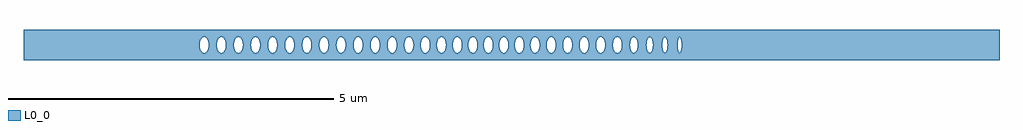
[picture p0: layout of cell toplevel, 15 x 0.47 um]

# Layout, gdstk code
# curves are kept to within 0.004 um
import gdstk
lib = gdstk.Library(unit=1e-6, precision=1e-09)
def P(c, l, *ps):  # polygons
    for p in ps: c.add(gdstk.Polygon(p, *l))
L0_0 = (0, 0)

toplevel = lib.new_cell('toplevel')
P(toplevel, L0_0, [(-4.266,0.023),(-4.259,0.06),(-4.245,0.09),(-4.245,0.235),(-7.5,0.235),(-7.5,-0.016),(-4.793,-0.016),(-4.79,0.038),(-4.78,0.073),(-4.757,0.109),(-4.727,0.124),(-4.701,0.118),(-4.671,0.085),(-4.654,0.031),(-4.653,-0.016),(-4.53,-0.016),(-4.527,0.038),(-4.517,0.073),(-4.494,0.109),(-4.464,0.124),(-4.438,0.118),(-4.411,0.09),(-4.394,0.046),(-4.389,0.008),(-4.391,-0.031),(-4.405,-0.079),(-4.426,-0.109),(-4.455,-0.124),(-4.481,-0.118),(-4.505,-0.096),(-4.517,-0.073),(-4.53,-0.016),(-4.653,-0.016),(-4.657,-0.046),(-4.674,-0.09),(-4.689,-0.109),(-4.718,-0.124),(-4.744,-0.118),(-4.768,-0.096),(-4.78,-0.073),(-4.793,-0.016),(-7.5,-0.016),(-7.5,-0.235),(-4.245,-0.235),(-4.245,-0.09),(-4.264,-0.038)],
  [(-4.238,0.1),(-4.219,0.118),(-4.201,0.124),(-4.179,0.12),(-4.159,0.105),(-4.145,0.085),(-4.131,0.046),(-4.127,-0.016),(-4.004,-0.016),(-3.998,0.053),(-3.979,0.096),(-3.956,0.118),(-3.921,0.122),(-3.896,0.105),(-3.877,0.073),(-3.863,0),(-3.868,-0.046),(-3.883,-0.085),(-3.9,-0.109),(-3.929,-0.124),(-3.956,-0.118),(-3.979,-0.096),(-3.996,-0.06),(-4.004,-0.016),(-4.127,-0.016),(-4.145,-0.085),(-4.175,-0.118),(-4.192,-0.124),(-4.21,-0.122),(-4.231,-0.109),(-4.245,-0.09),(-4.245,-0.235),(-3.658,-0.235),(-3.658,-0.122),(-3.684,-0.122),(-3.709,-0.105),(-3.733,-0.06),(-3.741,-0.016),(-3.735,0.053),(-3.716,0.096),(-3.693,0.118),(-3.658,0.122),(-3.658,0.235),(-4.245,0.235),(-4.245,0.09)],
  [(-3.215,0.016),(-3.211,0.046),(-3.196,0.085),(-3.179,0.109),(-3.158,0.122),(-3.132,0.122),(-3.111,0.109),(-3.083,0.06),(-3.083,0.235),(-3.658,0.235),(-3.658,0.122),(-3.633,0.105),(-3.614,0.073),(-3.605,0.046),(-3.601,0),(-3.479,0),(-3.474,0.046),(-3.459,0.085),(-3.442,0.109),(-3.412,0.124),(-3.386,0.118),(-3.363,0.096),(-3.346,0.06),(-3.338,0.016),(-3.341,-0.038),(-3.351,-0.073),(-3.374,-0.109),(-3.404,-0.124),(-3.43,-0.118),(-3.453,-0.096),(-3.474,-0.046),(-3.479,0),(-3.601,0),(-3.605,-0.046),(-3.614,-0.073),(-3.633,-0.105),(-3.658,-0.122),(-3.658,-0.235),(-3.083,-0.235),(-3.083,-0.06),(-3.1,-0.096),(-3.123,-0.118),(-3.141,-0.124),(-3.167,-0.118),(-3.19,-0.096),(-3.205,-0.066)],
  [(-3.076,-0.023),(-3.083,-0.06),(-3.083,-0.235),(-2.426,-0.235),(-2.426,0.235),(-3.083,0.235),(-3.083,0.059),(-3.075,-0.008),(-2.953,-0.008),(-2.948,0.046),(-2.937,0.079),(-2.916,0.109),(-2.887,0.124),(-2.86,0.118),(-2.837,0.096),(-2.818,0.053),(-2.812,-0.008),(-2.69,-0.008),(-2.685,0.046),(-2.661,0.1),(-2.641,0.118),(-2.624,0.124),(-2.593,0.115),(-2.574,0.096),(-2.562,0.073),(-2.552,0.038),(-2.549,-0.016),(-2.568,-0.085),(-2.585,-0.109),(-2.606,-0.122),(-2.633,-0.122),(-2.664,-0.096),(-2.681,-0.06),(-2.69,-0.008),(-2.812,-0.008),(-2.818,-0.053),(-2.837,-0.096),(-2.86,-0.118),(-2.878,-0.124),(-2.904,-0.118),(-2.927,-0.096),(-2.944,-0.06),(-2.953,-0.008),(-3.075,-0.008)],
  [(-2.423,0.038),(-2.411,0.079),(-2.394,0.105),(-2.37,0.122),(-2.352,0.124),(-2.322,0.109),(-2.299,0.073),(-2.289,0.038),(-2.286,-0.016),(-2.164,-0.016),(-2.16,0.046),(-2.145,0.085),(-2.116,0.118),(-2.09,0.124),(-2.06,0.109),(-2.037,0.073),(-2.027,0.038),(-2.024,-0.016),(-2.032,-0.06),(-2.049,-0.096),(-2.072,-0.118),(-2.09,-0.124),(-2.116,-0.118),(-2.139,-0.096),(-2.156,-0.06),(-2.164,-0.016),(-2.286,-0.016),(-2.299,-0.073),(-2.311,-0.096),(-2.33,-0.115),(-2.352,-0.124),(-2.378,-0.118),(-2.401,-0.096),(-2.416,-0.066),(-2.426,-0.023),(-2.426,-0.235),(-1.86,-0.235),(-1.86,-0.115),(-1.879,-0.096),(-1.891,-0.073),(-1.904,-0.016),(-1.901,0.038),(-1.891,0.073),(-1.879,0.096),(-1.86,0.115),(-1.86,0.235),(-2.426,0.235)],
  [(-1.394,0.016),(-1.379,0.079),(-1.358,0.109),(-1.338,0.122),(-1.32,0.124),(-1.287,0.105),(-1.287,0.235),(-1.86,0.235),(-1.86,0.115),(-1.838,0.124),(-1.82,0.122),(-1.789,0.096),(-1.768,0.046),(-1.764,-0.016),(-1.647,-0.016),(-1.644,0.038),(-1.634,0.073),(-1.611,0.109),(-1.581,0.124),(-1.555,0.118),(-1.532,0.096),(-1.515,0.06),(-1.506,0.008),(-1.511,-0.046),(-1.525,-0.085),(-1.543,-0.109),(-1.572,-0.124),(-1.599,-0.118),(-1.622,-0.096),(-1.639,-0.06),(-1.647,-0.016),(-1.764,-0.016),(-1.774,-0.066),(-1.796,-0.105),(-1.829,-0.124),(-1.86,-0.115),(-1.86,-0.235),(-1.287,-0.235),(-1.287,-0.105),(-1.32,-0.124),(-1.338,-0.122),(-1.362,-0.105),(-1.379,-0.079),(-1.39,-0.046)],
  [(-1.256,-0.031),(-1.267,-0.073),(-1.287,-0.105),(-1.287,-0.235),(-0.664,-0.235),(-0.664,0.235),(-1.287,0.235),(-1.287,0.105),(-1.267,0.073),(-1.259,0.046),(-1.254,-0.016),(-1.147,-0.016),(-1.144,0.038),(-1.134,0.073),(-1.111,0.109),(-1.09,0.122),(-1.072,0.124),(-1.055,0.118),(-1.028,0.09),(-1.011,0.046),(-1.006,-0.008),(-0.904,-0.008),(-0.895,0.06),(-0.871,0.105),(-0.838,0.124),(-0.82,0.122),(-0.799,0.109),(-0.772,0.06),(-0.763,-0.016),(-0.782,-0.085),(-0.799,-0.109),(-0.82,-0.122),(-0.847,-0.122),(-0.878,-0.096),(-0.895,-0.06),(-0.904,-0.008),(-1.006,-0.008),(-1.011,-0.046),(-1.025,-0.085),(-1.043,-0.109),(-1.072,-0.124),(-1.098,-0.118),(-1.122,-0.096),(-1.134,-0.073),(-1.147,-0.016),(-1.254,-0.016)],
  [(-0.662,0.031),(-0.639,0.096),(-0.615,0.118),(-0.589,0.124),(-0.56,0.109),(-0.539,0.079),(-0.525,0.031),(-0.524,-0.016),(-0.426,-0.016),(-0.423,0.038),(-0.407,0.085),(-0.378,0.118),(-0.351,0.124),(-0.322,0.109),(-0.304,0.085),(-0.29,0.046),(-0.285,0),(-0.29,-0.046),(-0.304,-0.085),(-0.322,-0.109),(-0.351,-0.124),(-0.378,-0.118),(-0.401,-0.096),(-0.418,-0.06),(-0.426,-0.016),(-0.524,-0.016),(-0.532,-0.06),(-0.552,-0.1),(-0.58,-0.122),(-0.607,-0.122),(-0.628,-0.109),(-0.645,-0.085),(-0.664,-0.016),(-0.664,-0.235),(-0.16,-0.235),(-0.16,-0.1),(-0.176,-0.073),(-0.189,-0.016),(-0.186,0.038),(-0.176,0.073),(-0.16,0.1),(-0.16,0.235),(-0.664,0.235)],
  [(-0.153,0.109),(-0.132,0.122),(-0.114,0.124),(-0.081,0.105),(-0.057,0.06),(-0.048,0),(0.049,0),(0.054,0.046),(0.075,0.096),(0.102,0.12),(0.133,0.122),(0.158,0.105),(0.177,0.073),(0.187,0.038),(0.19,-0.016),(0.182,-0.06),(0.165,-0.096),(0.142,-0.118),(0.115,-0.124),(0.086,-0.109),(0.069,-0.085),(0.054,-0.046),(0.049,0),(-0.048,0),(-0.059,-0.066),(-0.085,-0.109),(-0.105,-0.122),(-0.123,-0.124),(-0.145,-0.115),(-0.16,-0.1),(-0.16,-0.235),(0.376,-0.235),(0.376,-0.122),(0.349,-0.122),(0.318,-0.096),(0.301,-0.06),(0.292,-0.008),(0.297,0.046),(0.314,0.09),(0.341,0.118),(0.358,0.124),(0.376,0.122),(0.376,0.235),(-0.16,0.235),(-0.16,0.1)],
  [(0.376,0.235),(0.376,0.122),(0.4,0.105),(0.42,0.073),(0.433,0),(0.54,0),(0.545,0.046),(0.559,0.085),(0.577,0.109),(0.606,0.124),(0.633,0.118),(0.656,0.096),(0.673,0.06),(0.681,0.016),(0.678,-0.038),(0.668,-0.073),(0.645,-0.109),(0.615,-0.124),(0.589,-0.118),(0.559,-0.085),(0.545,-0.046),(0.54,0),(0.433,0),(0.42,-0.073),(0.4,-0.105),(0.376,-0.122),(0.376,-0.235),(0.925,-0.235),(0.925,-0.06),(0.897,-0.109),(0.876,-0.122),(0.85,-0.122),(0.829,-0.109),(0.812,-0.085),(0.793,-0.016),(0.796,0.038),(0.806,0.073),(0.818,0.096),(0.841,0.118),(0.859,0.124),(0.885,0.118),(0.908,0.096),(0.925,0.06),(0.925,0.235)],
  [(0.932,-0.031),(0.925,-0.06),(0.925,-0.235),(1.565,-0.235),(1.565,-0.06),(1.557,-0.016),(1.565,0.059),(1.565,0.235),(0.925,0.235),(0.925,0.059),(0.933,-0.016),(1.047,-0.016),(1.057,0.066),(1.079,0.105),(1.104,0.122),(1.135,0.12),(1.162,0.096),(1.181,0.053),(1.187,-0.008),(1.3,-0.008),(1.309,0.06),(1.333,0.105),(1.366,0.124),(1.384,0.122),(1.405,0.109),(1.432,0.06),(1.441,-0.016),(1.422,-0.085),(1.405,-0.109),(1.384,-0.122),(1.357,-0.122),(1.326,-0.096),(1.309,-0.06),(1.3,-0.008),(1.187,-0.008),(1.181,-0.053),(1.162,-0.096),(1.139,-0.118),(1.121,-0.124),(1.095,-0.118),(1.072,-0.096),(1.055,-0.06),(1.047,-0.016),(0.933,-0.016)],
  [(1.567,0.066),(1.593,0.109),(1.614,0.122),(1.64,0.122),(1.665,0.105),(1.684,0.073),(1.697,0),(1.82,0),(1.826,0.052),(1.842,0.095),(1.862,0.117),(1.885,0.123),(1.91,0.108),(1.928,0.078),(1.942,0),(1.928,-0.078),(1.91,-0.108),(1.885,-0.123),(1.862,-0.117),(1.842,-0.095),(1.826,-0.052),(1.82,0),(1.697,0),(1.684,-0.073),(1.665,-0.105),(1.636,-0.123),(1.614,-0.122),(1.593,-0.109),(1.565,-0.06),(1.565,-0.235),(2.115,-0.235),(2.115,-0.12),(2.097,-0.103),(2.085,-0.078),(2.074,-0.015),(2.075,0.03),(2.085,0.078),(2.097,0.103),(2.115,0.12),(2.115,0.235),(1.565,0.235)],
  [(2.128,0.122),(2.149,0.107),(2.164,0.078),(2.174,0.03),(2.174,-0.023),(2.317,-0.023),(2.324,0.071),(2.34,0.11),(2.355,0.121),(2.375,0.11),(2.389,0.077),(2.397,0.03),(2.397,-0.022),(2.553,-0.022),(2.558,0.071),(2.57,0.109),(2.585,0.12),(2.597,0.109),(2.606,0.082),(2.614,-0.022),(2.602,-0.097),(2.585,-0.12),(2.572,-0.112),(2.565,-0.097),(2.553,-0.022),(2.397,-0.022),(2.387,-0.083),(2.375,-0.11),(2.36,-0.121),(2.342,-0.113),(2.333,-0.098),(2.317,-0.023),(2.174,-0.023),(2.164,-0.078),(2.152,-0.103),(2.134,-0.12),(2.115,-0.12),(2.115,-0.235),(7.5,-0.235),(7.5,0.235),(2.115,0.235),(2.115,0.12)])

lib.write_gds('toplevel.gds')
